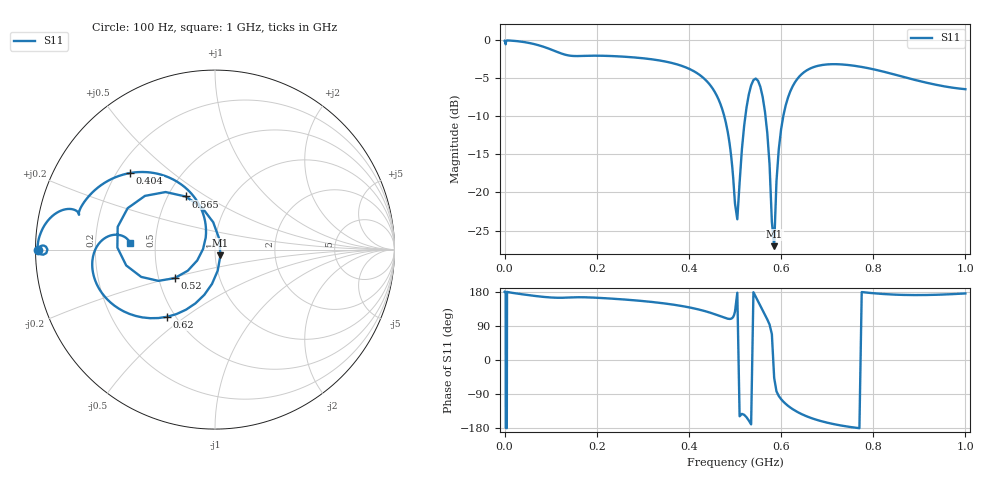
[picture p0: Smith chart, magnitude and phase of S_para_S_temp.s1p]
!Generated from: D:\Projects\HardwareDesign\Sigrity\ac_multi_ic\result\impedance\1\IC7_a1\temp\SParamExtraction.sp
! Port_1
!SPEED SIMULATOR Version: 24.0.0.05151.504415  000
!Computer Host Name: DESKTOP-D851ENJ
!TouchstoneFormatFlag = 1
#	Hz	S	MA	R	1
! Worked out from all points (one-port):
!   551 points, 100 Hz to 1 GHz, reference 1 ohm
!   lowest |S11| = -27.0 dB at 585 MHz (marker M1), VSWR 1.09, Z = 1.06 - j0.0692 ohm
!   |S11| at or under -10 dB: 476.7 MHz to 522.6 MHz (45.9 MHz wide, 9.19 % of centre); 566.1 MHz to 604.8 MHz (38.77 MHz wide, 6.62 % of centre)
!   S11 on the Smith chart (normalised r, x): 100 Hz: 0.01, +0.00; 404 MHz: 0.25, +0.36; 520 MHz: 0.61, -0.21; 565 MHz: 0.61, +0.41; 620 MHz: 0.45, -0.43; 1 GHz: 0.36, +0.03
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100  0.9834 180.0
7.4e7  0.9195 167.9
1.26e8  0.8069 164.3
2.52e8  0.7766 160.3
3.76e8  0.6872 144.2
4.04e8  0.6374 138.0
4.42e8  0.5222 126.4
4.68e8  0.382 115.6
4.86e8  0.2318 108.6
4.98e8  0.1039 118.7
5.05e8  0.06672 177.5
5.1e8  0.116 -148.5
5.2e8  0.2756 -144.7
5.3e8  0.4385 -159.7
5.45e8  0.5568 166.8
5.55e8  0.4918 142.5
5.65e8  0.3383 119.0
5.75e8  0.1525 93.7
5.85e8  0.04449 -47.1
5.9e8  0.1184 -82.7
6.05e8  0.3185 -110.0
6.2e8  0.4591 -125.4
6.3e8  0.5258 -133.4
6.55e8  0.6283 -148.4
6.8e8  0.6746 -158.9
7.55e8  0.6777 -177.6
8.8e8  0.5558 171.4
1e9  0.4743 175.6
